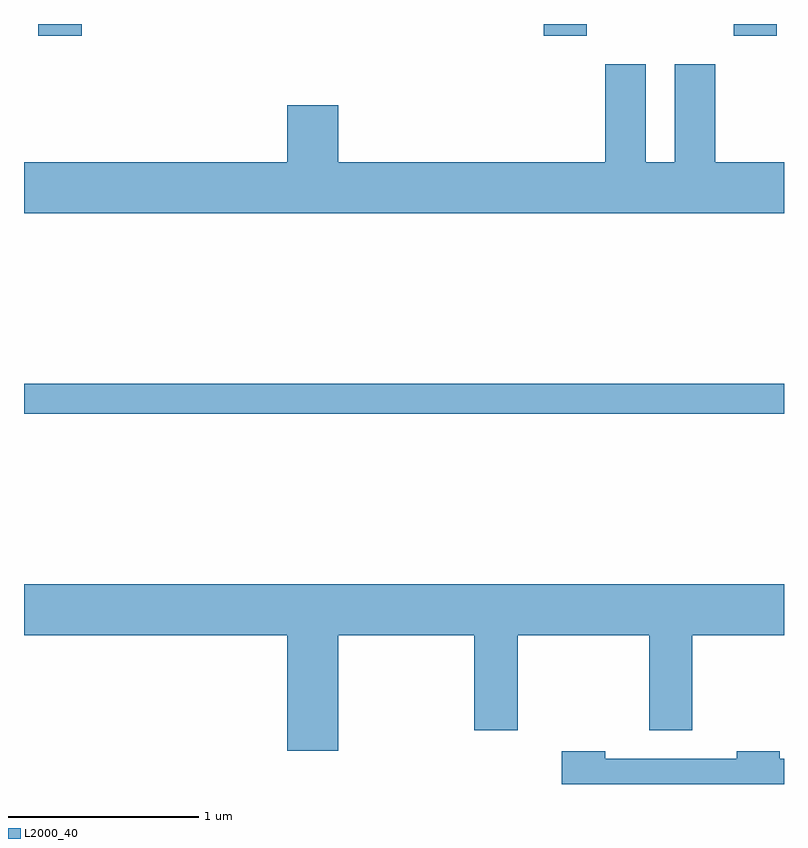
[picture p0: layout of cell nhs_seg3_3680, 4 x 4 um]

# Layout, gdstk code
import gdstk
lib = gdstk.Library(unit=1e-6, precision=1e-09)
def R(c, l, rs):  # rectangles x0, y0, x1, y1
    for r in rs: c.add(gdstk.rectangle(r[:2], r[2:], *l))
def P(c, l, *ps):  # polygons
    for p in ps: c.add(gdstk.Polygon(p, *l))
L2000_40 = (2000, 40)

nhs_seg3_3680 = lib.new_cell('nhs_seg3_3680')
R(nhs_seg3_3680, L2000_40, [(293.611,1133.841,297.611,1133.999), (293.686,1135.831,293.914,1135.892), (296.346,1135.831,296.574,1135.892), (297.346,1135.831,297.574,1135.892)])
P(nhs_seg3_3680, L2000_40, [(297.611,1135.164),(297.249,1135.164),(297.249,1135.679),(297.036,1135.679),(297.036,1135.164),(296.884,1135.164),(296.884,1135.679),(296.671,1135.679),(296.671,1135.164),(295.264,1135.164),(295.264,1135.464),(294.996,1135.464),(294.996,1135.164),(293.611,1135.164),(293.611,1134.896),(297.611,1134.896)],
  [(295.264,1132.676),(295.981,1132.676),(295.981,1132.176),(296.209,1132.176),(296.209,1132.676),(296.901,1132.676),(296.901,1132.176),(297.129,1132.176),(297.129,1132.676),(297.611,1132.676),(297.611,1132.944),(293.611,1132.944),(293.611,1132.676),(294.996,1132.676),(294.996,1132.066),(295.264,1132.066)],
  [(297.611,1132.024),(297.589,1132.024),(297.589,1132.064),(297.361,1132.064),(297.361,1132.024),(296.669,1132.024),(296.669,1132.064),(296.441,1132.064),(296.441,1131.892),(297.611,1131.892)])

lib.write_gds('nhs_seg3_3680.gds')
